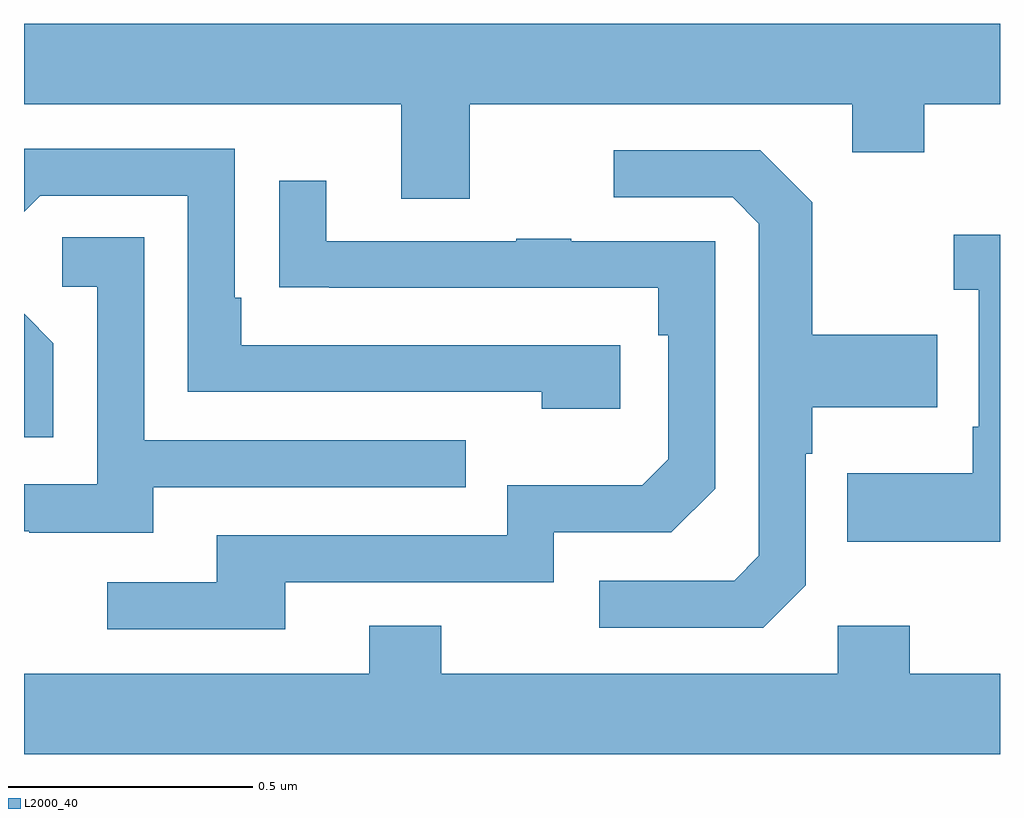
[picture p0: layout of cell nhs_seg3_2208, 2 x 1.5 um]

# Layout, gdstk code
import gdstk
lib = gdstk.Library(unit=1e-6, precision=1e-09)
def P(c, l, *ps):  # polygons
    for p in ps: c.add(gdstk.Polygon(p, *l))
L2000_40 = (2000, 40)

nhs_seg3_2208 = lib.new_cell('nhs_seg3_2208')
P(nhs_seg3_2208, L2000_40, [(138.913,700.916),(139.697,700.916),(139.697,700.817),(139.845,700.817),(139.845,700.916),(140,700.916),(140,701.08),(138,701.08),(138,700.916),(138.773,700.916),(138.773,700.722),(138.913,700.722)],
  [(139.222,700.422),(138.445,700.422),(138.445,700.519),(138.432,700.519),(138.432,700.824),(138,700.824),(138,700.695),(138.033,700.728),(138.336,700.728),(138.336,700.326),(139.061,700.326),(139.061,700.292),(139.222,700.292)],
  [(139.602,699.93),(139.602,700.199),(139.615,700.199),(139.615,700.295),(139.871,700.295),(139.871,700.443),(139.615,700.443),(139.615,700.715),(139.509,700.821),(139.209,700.821),(139.209,700.725),(139.452,700.725),(139.506,700.671),(139.506,699.99),(139.455,699.939),(139.179,699.939),(139.179,699.843),(139.515,699.843)],
  [(138.535,699.936),(139.086,699.936),(139.086,700.038),(139.326,700.038),(139.416,700.128),(139.416,700.635),(139.121,700.635),(139.121,700.64),(139.009,700.64),(139.009,700.635),(138.619,700.635),(138.619,700.759),(138.523,700.759),(138.523,700.54),(138.625,700.54),(138.625,700.539),(139.3,700.539),(139.3,700.442),(139.32,700.442),(139.32,700.188),(139.267,700.135),(138.99,700.135),(138.99,700.032),(138.395,700.032),(138.395,699.936),(138.171,699.936),(138.171,699.84),(138.535,699.84)],
  [(140,700.648),(139.905,700.648),(139.905,700.535),(139.956,700.535),(139.956,700.255),(139.944,700.255),(139.944,700.159),(139.687,700.159),(139.687,700.019),(140,700.019)],
  [(138.265,700.131),(138.905,700.131),(138.905,700.227),(138.246,700.227),(138.246,700.643),(138.078,700.643),(138.078,700.542),(138.15,700.542),(138.15,700.137),(138,700.137),(138,700.041),(138.011,700.041),(138.011,700.037),(138.265,700.037)],
  [(138.06,700.426),(138,700.486),(138,700.233),(138.06,700.233)],
  [(140,699.748),(139.815,699.748),(139.815,699.847),(139.668,699.847),(139.668,699.748),(138.855,699.748),(138.855,699.847),(138.707,699.847),(138.707,699.748),(138,699.748),(138,699.584),(140,699.584)])

lib.write_gds('nhs_seg3_2208.gds')
